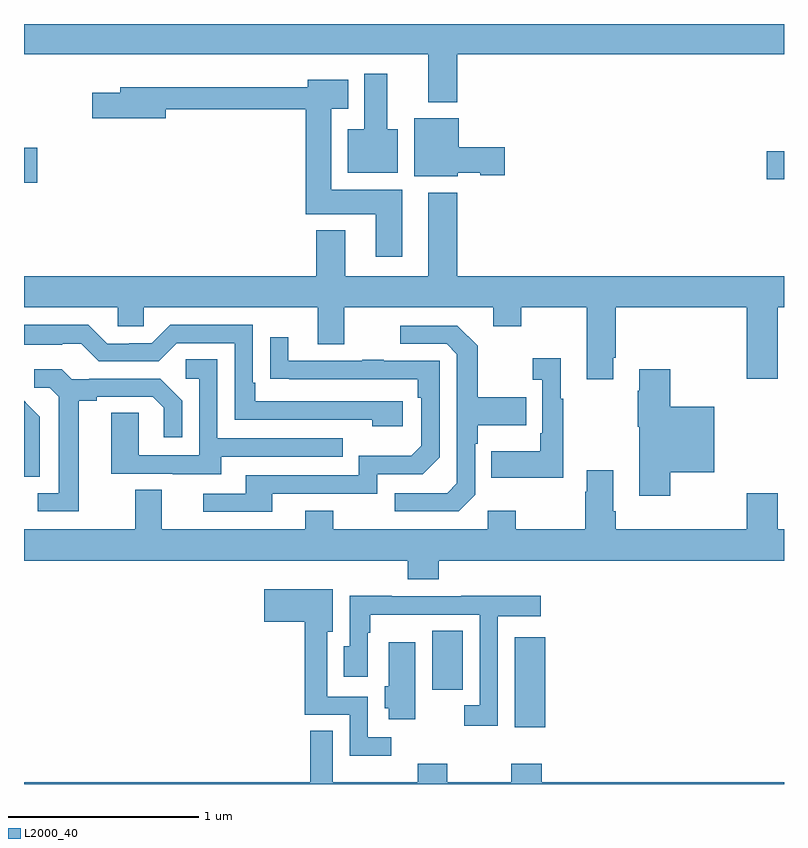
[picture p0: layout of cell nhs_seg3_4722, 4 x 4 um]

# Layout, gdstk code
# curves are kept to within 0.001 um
import gdstk
lib = gdstk.Library(unit=1e-6, precision=1e-09)
def R(c, l, rs):  # rectangles x0, y0, x1, y1
    for r in rs: c.add(gdstk.rectangle(r[:2], r[2:], *l))
def P(c, l, *ps):  # polygons
    for p in ps: c.add(gdstk.Polygon(p, *l))
L2000_40 = (2000, 40)

nhs_seg3_4722 = lib.new_cell('nhs_seg3_4722')
R(nhs_seg3_4722, L2000_40, [(367.583,706.698,367.744,707.173), (367.148,706.896,367.309,707.207), (365,709.565,365.071,709.748), (368.91,709.583,369,709.73)])
P(nhs_seg3_4722, L2000_40, [(367.28,710.24),(369,710.24),(369,710.4),(365,710.4),(365,710.24),(367.127,710.24),(367.127,709.988),(367.28,709.988)],
  [(366.967,709.846),(366.913,709.846),(366.913,710.137),(366.791,710.137),(366.791,709.846),(366.704,709.846),(366.704,709.616),(366.967,709.616)],
  [(366.991,709.528),(366.616,709.528),(366.616,709.955),(366.706,709.955),(366.706,710.107),(366.494,710.107),(366.494,710.068),(365.507,710.068),(365.507,710.038),(365.358,710.038),(365.358,709.904),(365.746,709.904),(365.746,709.951),(366.482,709.951),(366.482,709.4),(366.851,709.4),(366.851,709.176),(366.991,709.176)],
  [(367.284,709.616),(367.401,709.616),(367.401,709.604),(367.531,709.604),(367.531,709.751),(367.288,709.751),(367.288,709.903),(367.055,709.903),(367.055,709.598),(367.284,709.598)],
  [(368.101,708.643),(368.114,708.643),(368.114,708.908),(368.804,708.908),(368.804,708.534),(368.968,708.534),(368.968,708.908),(369,708.908),(369,709.072),(367.28,709.072),(367.28,709.513),(367.127,709.513),(367.127,709.072),(366.691,709.072),(366.691,709.315),(366.539,709.315),(366.539,709.072),(365,709.072),(365,708.908),(365.493,708.908),(365.493,708.81),(365.631,708.81),(365.631,708.908),(366.545,708.908),(366.545,708.714),(366.685,708.714),(366.685,708.908),(367.469,708.908),(367.469,708.809),(367.617,708.809),(367.617,708.908),(367.961,708.908),(367.961,708.531),(368.101,708.531)],
  [(366.994,708.414),(366.217,708.414),(366.217,708.511),(366.204,708.511),(366.204,708.816),(365.769,708.816),(365.673,708.72),(365.555,708.72),(365.555,708.717),(365.439,708.717),(365.339,708.817),(365,708.817),(365,708.713),(365.201,708.713),(365.201,708.717),(365.301,708.717),(365.394,708.624),(365.709,708.624),(365.805,708.72),(366.108,708.72),(366.108,708.318),(366.833,708.318),(366.833,708.284),(366.994,708.284)],
  [(367.374,707.922),(367.374,708.191),(367.387,708.191),(367.387,708.287),(367.643,708.287),(367.643,708.435),(367.387,708.435),(367.387,708.707),(367.281,708.813),(366.981,708.813),(366.981,708.717),(367.224,708.717),(367.278,708.663),(367.278,707.982),(367.227,707.931),(366.951,707.931),(366.951,707.835),(367.287,707.835)],
  [(366.307,707.928),(366.858,707.928),(366.858,708.03),(367.098,708.03),(367.188,708.12),(367.188,708.627),(366.893,708.627),(366.893,708.632),(366.781,708.632),(366.781,708.627),(366.391,708.627),(366.391,708.751),(366.295,708.751),(366.295,708.532),(367.072,708.531),(367.072,708.434),(367.092,708.434),(367.092,708.18),(367.039,708.127),(366.762,708.127),(366.762,708.024),(366.167,708.024),(366.167,707.928),(365.943,707.928),(365.943,707.832),(366.307,707.832)],
  [(367.837,708.427),(367.825,708.427),(367.825,708.64),(367.677,708.64),(367.677,708.527),(367.728,708.527),(367.728,708.247),(367.716,708.247),(367.716,708.151),(367.459,708.151),(367.459,708.011),(367.837,708.011)],
  [(366.037,708.123),(366.677,708.123),(366.677,708.219),(366.018,708.219),(366.018,708.635),(365.85,708.635),(365.85,708.534),(365.922,708.534),(365.922,708.129),(365.604,708.129),(365.604,708.353),(365.459,708.353),(365.459,708.033),(365.783,708.033),(365.783,708.029),(366.037,708.029)],
  [(368.4,708.041),(368.632,708.041),(368.632,708.385),(368.4,708.385),(368.4,708.583),(368.237,708.583),(368.237,708.47),(368.23,708.47),(368.23,708.281),(368.237,708.281),(368.237,707.916),(368.4,707.916)],
  [(365.287,708.416),(365.383,708.416),(365.383,708.438),(365.678,708.438),(365.735,708.381),(365.735,708.225),(365.832,708.225),(365.832,708.418),(365.716,708.534),(365.344,708.534),(365.344,708.531),(365.25,708.531),(365.198,708.583),(365.055,708.583),(365.055,708.486),(365.136,708.486),(365.183,708.439),(365.183,707.931),(365.073,707.931),(365.073,707.835),(365.287,707.835)],
  [(365.082,708.334),(365.009,708.407),(365.01,708.408),(365,708.418),(365,708.016),(365.082,708.016)],
  [(367.184,707.576),(369,707.576),(369,707.74),(368.968,707.74),(368.968,707.929),(368.804,707.929),(368.804,707.74),(368.114,707.74),(368.114,707.836),(368.101,707.836),(368.101,708.052),(367.961,708.052),(367.961,707.939),(367.954,707.939),(367.954,707.74),(367.587,707.74),(367.587,707.839),(367.44,707.839),(367.44,707.74),(366.627,707.74),(366.627,707.839),(366.479,707.839),(366.479,707.74),(365.725,707.74),(365.725,707.948),(365.585,707.948),(365.585,707.74),(365,707.74),(365,707.576),(367.019,707.576),(367.019,707.477),(367.184,707.477)],
  [(366.934,706.647),(366.81,706.647),(366.81,706.86),(366.595,706.86),(366.595,707.201),(366.625,707.201),(366.625,707.425),(366.264,707.425),(366.264,707.255),(366.477,707.255),(366.477,706.764),(366.714,706.764),(366.714,706.55),(366.934,706.55)],
  [(367.494,707.282),(367.72,707.282),(367.72,707.39),(367.301,707.39),(367.301,707.388),(366.935,707.388),(366.935,707.39),(366.714,707.39),(366.714,707.124),(366.683,707.124),(366.683,706.965),(366.81,706.965),(366.81,707.195),(366.823,707.195),(366.823,707.291),(367.052,707.291),(367.052,707.292),(367.398,707.292),(367.398,706.815),(367.317,706.815),(367.317,706.707),(367.494,706.707)],
  [(367.06,707.146),(366.92,707.146),(366.92,706.914),(366.899,706.914),(366.899,706.8),(366.92,706.8),(366.92,706.74),(367.06,706.74)],
  [(369,706.408),(367.724,706.408),(367.724,706.507),(367.564,706.507),(367.564,706.408),(367.227,706.408),(367.227,706.507),(367.072,706.507),(367.072,706.408),(366.625,706.408),(366.625,706.679),(366.507,706.679),(366.507,706.408),(365,706.408),(365,706.4),(369,706.4)])

lib.write_gds('nhs_seg3_4722.gds')
